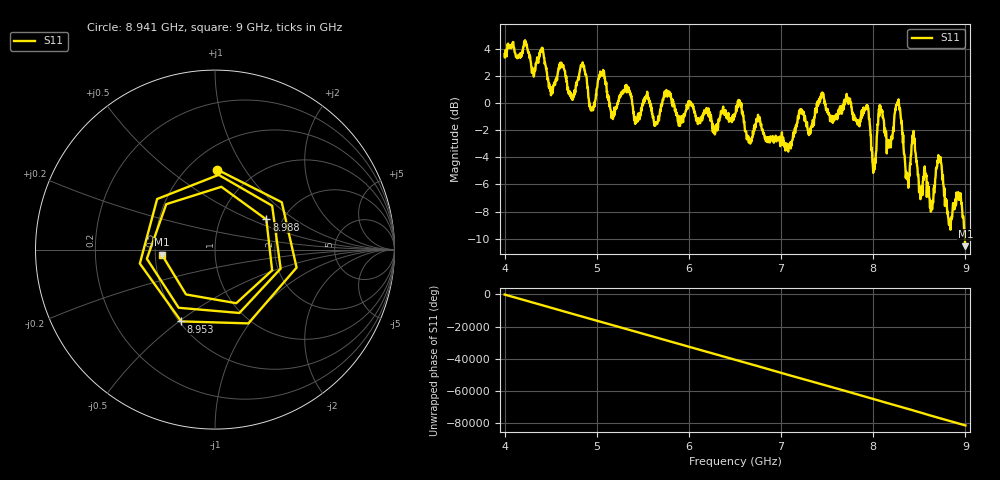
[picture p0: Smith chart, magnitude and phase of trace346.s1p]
! Created with skrf 1.8.0 (http://scikit-rf.org).
# Hz S RI R 50.0
!freq ReS11 ImS11
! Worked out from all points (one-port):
!   1601 points, 4 GHz to 9 GHz, reference 50 ohm
!   lowest |S11| = -10.5 dB at 9 GHz (marker M1), VSWR 1.85, Z = 27.1 - j1.69 ohm
!   |S11| at or under -10 dB: 8.994621 GHz to end of sweep
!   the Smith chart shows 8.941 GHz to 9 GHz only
!   S11 on the Smith chart (normalised r, x): 8.941 GHz: 0.68, +0.76; 8.953 GHz: 0.51, -0.51; 8.988 GHz: 1.65, +0.62; 9 GHz: 0.54, -0.03
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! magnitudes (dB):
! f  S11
! 4 GHz  3.6
! 4.403 GHz  4.0
! 4.503 GHz  0.6
! 4.625 GHz  2.7
! 4.731 GHz  0.4
! 4.847 GHz  3.0
! 4.944 GHz  -0.4
! 5.053 GHz  2.0
! 5.162 GHz  -0.7
! 5.25 GHz  0.6
! 5.875 GHz  -0.9
! 6.5 GHz  -0.8
! 7.125 GHz  -2.7
! 7.75 GHz  0.1
! 7.934 GHz  -0.4
! 8.009 GHz  -4.9
! 8.075 GHz  -0.3
! 8.172 GHz  -3.3
! 8.269 GHz  0.0
! 8.375 GHz  -5.2
! 8.438 GHz  -2.1
! 8.628 GHz  -7.8
! 8.716 GHz  -4.0
! 8.825 GHz  -8.8
! 8.941 GHz  -7.0
! 8.953 GHz  -7.1
! 8.988 GHz  -9.6
! 9 GHz  -10.5
